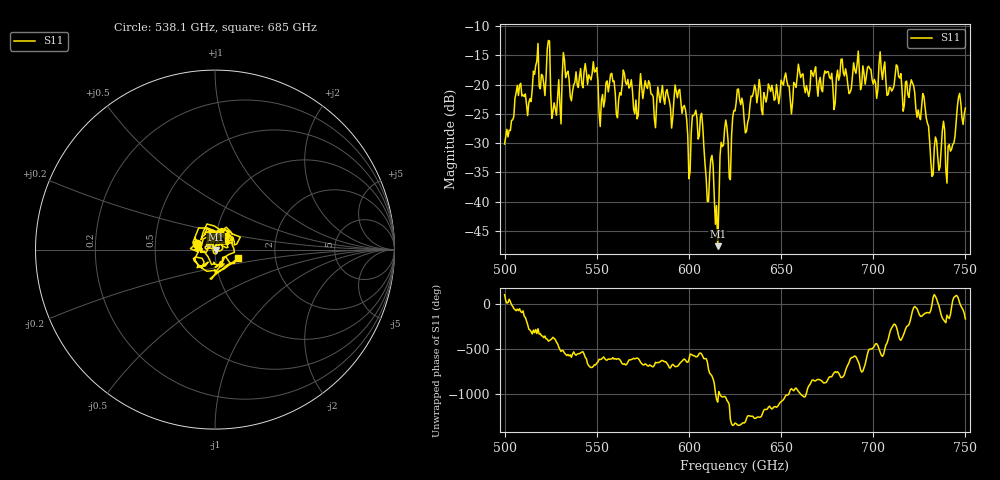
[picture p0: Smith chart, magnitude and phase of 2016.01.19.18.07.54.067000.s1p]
!Created with skrf (http://scikit-rf.org).
# GHz S RI R 50.0
!freq ReS11 ImS11
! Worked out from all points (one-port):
!   401 points, 500 GHz to 750 GHz, reference 50 ohm
!   lowest |S11| = -47.6 dB at 615.6 GHz (marker M1), VSWR 1.01, Z = 50.4 - j0.0889 ohm
!   |S11| at or under -10 dB: start of sweep to end of sweep
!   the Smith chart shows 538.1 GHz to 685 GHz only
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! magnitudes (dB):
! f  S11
! 500 GHz  -30.1
! 507.5 GHz  -21.9
! 513.1 GHz  -23.1
! 516.9 GHz  -16.7
! 523.8 GHz  -12.5
! 526.9 GHz  -23.1
! 531.2 GHz  -18.4
! 548.8 GHz  -17.9
! 552.5 GHz  -22.7
! 562.5 GHz  -21.4
! 593.8 GHz  -22.3
! 600 GHz  -36.1
! 603.1 GHz  -25.0
! 606.9 GHz  -24.9
! 609.4 GHz  -36.0
! 612.5 GHz  -32.1
! 615.6 GHz  -47.6
! 618.8 GHz  -30.3
! 622.5 GHz  -36.2
! 625 GHz  -24.5
! 656.2 GHz  -23.0
! 660.6 GHz  -18.8
! 687.5 GHz  -21.3
! 690.6 GHz  -18.1
! 718.8 GHz  -21.6
! 728.1 GHz  -23.9
! 731.9 GHz  -35.7
! 750 GHz  -24.0
